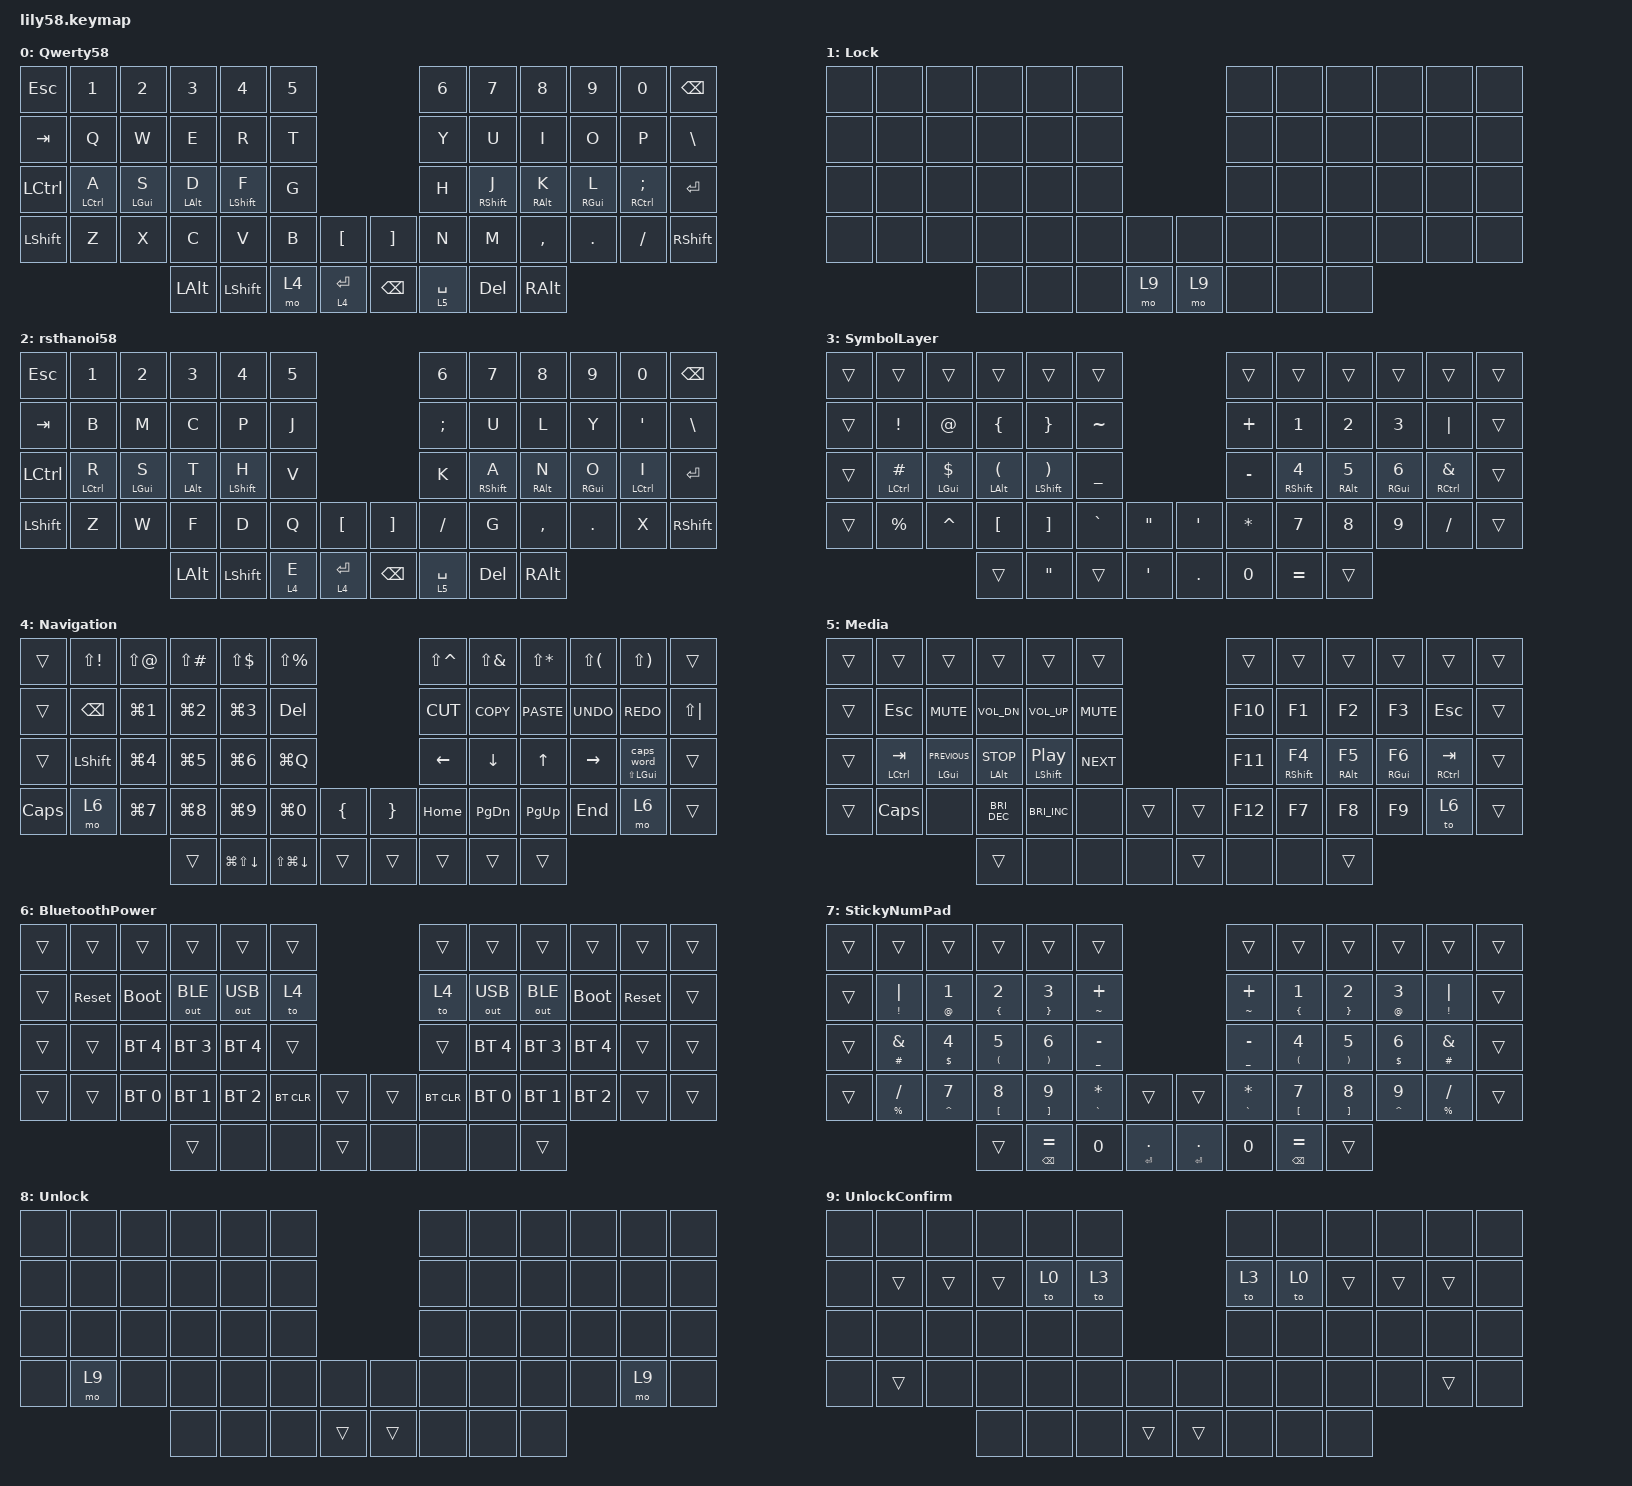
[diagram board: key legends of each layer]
/*
 * Copyright (c) 2020 The ZMK Contributors
 *
 * SPDX-License-Identifier: MIT
 */

#include <behaviors.dtsi>
#include <dt-bindings/zmk/bt.h>
#include <dt-bindings/zmk/keys.h>
#include <dt-bindings/zmk/outputs.h>

&mt {
    tapping-term-ms = <350>;
    flavor = "tap-preferred";
    require-prior-idle-ms = <150>;
};

&lt {
    tapping-term-ms = <200>;
    flavor = "balanced";
    require-prior-idle-ms = <150>;
};

/ {
    combos {
        compatible = "zmk,combos";

        escapeCombo {
            bindings = <&kp ESCAPE>;
            key-positions = <13 14>;
            layers = <4 4 5 6 3 0>;
        };

        tabCombo {
            bindings = <&kp TAB>;
            key-positions = <25 26>;
            layers = <4 4 5 6 3 0 7>;
            require-prior-idle-ms = <50>;
        };

        spaceCOMBO {
            bindings = <&kp SPACE>;
            key-positions = <40 41>;
            layers = <4 4 5 6 3 0 7>;
        };

        numpadCombo {
            bindings = <&tog 7>;
            key-positions = <16 17>;
            layers = <4 4 5 6 7 3 0>;
        };

        xCombo {
            bindings = <&kp X>;
            key-positions = <38 39>;
            layers = <4 4 5 6 3 0 7>;
        };

        resetLeft {
            bindings = <&sys_reset>;
            key-positions = <13 14 15>;
        };

        bootloaderLeft {
            bindings = <&bootloader>;
            key-positions = <15 16 17>;
        };

        comment {
            bindings = <&kp LC(SLASH)>;
            key-positions = <39 40>;
            require-prior-idle-ms = <100>;
            layers = <3 0 4 4 5 6 7>;
        };
    };

    macros {
        enterExit: new_macro {
            compatible = "zmk,behavior-macro";
            #binding-cells = <0>;
            bindings = <&kp ENTER &tog 3>;
            label = "NEW_MACRO";
        };
    };

    behaviors {
        togKP: togKP {
            compatible = "zmk,behavior-hold-tap";
            label = "TOGKP";
            bindings = <&tog>, <&kp>;

            #binding-cells = <2>;
            tapping-term-ms = <300>;
        };

        capsLGUI: capsLGUI {
            compatible = "zmk,behavior-hold-tap";
            label = "CAPSLGUI";
            bindings = <&kp>, <&caps_word>;

            #binding-cells = <2>;
            tapping-term-ms = <300>;
        };
    };

    keymap {
        compatible = "zmk,keymap";

        Qwerty {
            // ------------------------------------------------------------------------------------------------------------
            // |  ESC  |  1  |  2  |  3   |  4   |  5   |                   |  6   |  7    |  8    |  9   |   0   |   `   |
            // |  TAB  |  Q  |  W  |  E   |  R   |  T   |                   |  Y   |  U    |  I    |  O   |   P   |   -   |
            // |  CTRL |  A  |  S  |  D   |  F   |  G   |                   |  H   |  J    |  K    |  L   |   ;   |   '   |
            // | SHIFT |  Z  |  X  |  C   |  V   |  B   |   "["  |  |  "]"  |  N   |  M    |  ,    |  .   |   /   | SHIFT |
            //                     | ALT  | GUI  | LOWER|  SPACE |  | ENTER | RAISE| BSPC  | GUI   |

            bindings = <
&kp ESC    &kp N1       &kp N2      &kp N3      &kp N4        &kp N5                                &kp N6       &kp N7        &kp N8      &kp N9      &kp N0               &kp BACKSPACE
&kp TAB    &kp Q        &kp W       &kp E       &kp R         &kp T                                 &kp Y        &kp U         &kp I       &kp O       &kp P                &kp BACKSLASH
&kp LCTRL  &mt LCTRL A  &mt LGUI S  &mt LALT D  &mt LSHIFT F  &kp G                                 &kp H        &mt RSHIFT J  &mt RALT K  &mt RGUI L  &mt RCTRL SEMICOLON  &kp ENTER
&kp LSHFT  &kp Z        &kp X       &kp C       &kp V         &kp B   &kp LBKT       &kp RBKT       &kp N        &kp M         &kp COMMA   &kp DOT     &kp FSLH             &kp RSHIFT
                                    &kp LALT    &kp LSHFT     &mo 4   &lt 4 ENTER    &kp BACKSPACE  &lt 5 SPACE  &kp DEL       &kp RALT
            >;

            label = "Qwerty58";
        };

        Lock {
            bindings = <
&none  &none  &none  &none  &none  &none                  &none  &none  &none  &none  &none  &none
&none  &none  &none  &none  &none  &none                  &none  &none  &none  &none  &none  &none
&none  &none  &none  &none  &none  &none                  &none  &none  &none  &none  &none  &none
&none  &none  &none  &none  &none  &none  &none    &none  &none  &none  &none  &none  &none  &none
                     &none  &none  &none  &mo 9    &mo 9  &none  &none  &none
            >;

            label = "Lock";
        };

        rsthanoi {
            bindings = <
&kp ESCAPE  &kp N1       &kp N2      &kp N3      &kp N4        &kp N5                                 &kp N6         &kp N7        &kp N8      &kp N9      &kp N0       &kp BSPC
&kp TAB     &kp B        &kp M       &kp C       &kp P         &kp J                                  &kp SEMICOLON  &kp U         &kp L       &kp Y       &kp SQT      &kp BSLH
&kp LCTRL   &mt LCTRL R  &mt LGUI S  &mt LALT T  &mt LSHIFT H  &kp V                                  &kp K          &mt RSHIFT A  &mt RALT N  &mt RGUI O  &mt LCTRL I  &kp ENTER
&kp LSHIFT  &kp Z        &kp W       &kp F       &kp D         &kp Q    &kp LBKT       &kp RBKT       &kp SLASH      &kp G         &kp COMMA   &kp PERIOD  &kp X        &kp RSHIFT
                                     &kp LALT    &kp LSHIFT    &lt 4 E  &lt 4 ENTER    &kp BACKSPACE  &lt 5 SPACE    &kp DEL       &kp RALT
            >;

            label = "rsthanoi58";
        };

        SymbolLayer {
            bindings = <
&trans  &trans           &trans           &trans                     &trans                        &trans                                           &trans        &trans               &trans        &trans             &trans               &trans
&trans  &kp EXCLAMATION  &kp AT           &kp LEFT_BRACE             &kp RIGHT_BRACE               &kp TILDE                                        &kp PLUS      &kp NUMBER_1         &kp NUMBER_2  &kp NUMBER_3       &kp PIPE             &trans
&trans  &mt LCTRL HASH   &mt LGUI DOLLAR  &mt LALT LEFT_PARENTHESIS  &mt LSHIFT RIGHT_PARENTHESIS  &kp UNDERSCORE                                   &kp MINUS     &mt RSHIFT NUMBER_4  &mt RALT N5   &mt RGUI NUMBER_6  &mt RCTRL AMPERSAND  &trans
&trans  &kp PERCENT      &kp CARET        &kp LEFT_BRACKET           &kp RIGHT_BRACKET             &kp GRAVE       &kp DOUBLE_QUOTES    &kp SQT     &kp ASTERISK  &kp N7               &kp N8        &kp N9             &kp SLASH            &trans
                                          &trans                     &kp DOUBLE_QUOTES             &trans          &kp SQT              &kp PERIOD  &kp N0        &kp EQUAL            &trans
            >;

            label = "SymbolLayer";
        };

        Navigation {
            bindings = <
&trans        &kp LS(EXCL)    &kp LS(AT)        &kp LS(POUND)     &kp LS(DLLR)            &kp LS(PRCNT)                                              &kp LS(CARET)   &kp LS(AMPS)    &kp LS(STAR)  &kp LS(LPAR)     &kp LS(RPAR)          &trans
&trans        &kp BACKSPACE   &kp LG(NUMBER_1)  &kp LG(NUMBER_2)  &kp LG(NUMBER_3)        &kp DELETE                                                 &kp K_CUT       &kp K_COPY      &kp K_PASTE   &kp K_UNDO       &kp K_REDO            &kp LS(PIPE)
&trans        &kp LEFT_SHIFT  &kp LG(NUMBER_4)  &kp LG(N5)        &kp LG(NUMBER_6)        &kp LG(Q)                                                  &kp LEFT_ARROW  &kp DOWN_ARROW  &kp UP_ARROW  &kp RIGHT_ARROW  &capsLGUI LS(LGUI) 0  &trans
&kp CAPSLOCK  &mo 6           &kp LG(N7)        &kp LG(N8)        &kp LG(N9)              &kp LG(N0)              &kp LEFT_BRACE    &kp RIGHT_BRACE  &kp HOME        &kp PG_DN       &kp PG_UP     &kp END          &mo 6                 &trans
                                                &trans            &kp LG(LS(DOWN_ARROW))  &kp LS(LG(DOWN_ARROW))  &trans            &trans           &trans          &trans          &trans
            >;

            label = "Navigation";
        };

        Media {
            bindings = <
&trans  &trans         &trans               &trans                &trans                   &trans                        &trans   &trans         &trans       &trans       &trans         &trans
&trans  &kp ESCAPE     &kp C_MUTE           &kp C_VOL_DN          &kp C_VOL_UP             &kp C_MUTE                    &kp F10  &kp F1         &kp F2       &kp F3       &kp ESCAPE     &trans
&trans  &mt LCTRL TAB  &mt LGUI C_PREVIOUS  &mt LALT C_STOP       &mt LSHIFT C_PLAY_PAUSE  &kp C_NEXT                    &kp F11  &mt RSHIFT F4  &mt RALT F5  &mt RGUI F6  &mt RCTRL TAB  &trans
&trans  &kp CAPSLOCK   &none                &kp C_BRIGHTNESS_DEC  &kp C_BRIGHTNESS_INC     &none       &trans    &trans  &kp F12  &kp F7         &kp F8       &kp F9       &to 6          &trans
                                            &trans                &none                    &none       &none     &trans  &none    &none          &trans
            >;

            label = "Media";
        };

        BluetoothPower {
            bindings = <
&trans  &trans      &trans        &trans        &trans        &trans                        &trans      &trans        &trans        &trans        &trans      &trans
&trans  &sys_reset  &bootloader   &out OUT_BLE  &out OUT_USB  &to 4                         &to 4       &out OUT_USB  &out OUT_BLE  &bootloader   &sys_reset  &trans
&trans  &trans      &bt BT_SEL 4  &bt BT_SEL 3  &bt BT_SEL 4  &trans                        &trans      &bt BT_SEL 4  &bt BT_SEL 3  &bt BT_SEL 4  &trans      &trans
&trans  &trans      &bt BT_SEL 0  &bt BT_SEL 1  &bt BT_SEL 2  &bt BT_CLR  &trans    &trans  &bt BT_CLR  &bt BT_SEL 0  &bt BT_SEL 1  &bt BT_SEL 2  &trans      &trans
                                  &trans        &none         &none       &trans    &none   &none       &none         &trans
            >;

            label = "BluetoothPower";
        };

        StickyNumPad {
            bindings = <
&trans  &trans              &trans                &trans                         &trans                          &trans                                                      &trans                &trans                         &trans                          &trans                &trans              &trans
&trans  &mt EXCL PIPE       &mt AT_SIGN NUMBER_1  &mt LEFT_BRACE NUMBER_2        &mt RIGHT_BRACE NUMBER_3        &mt TILDE PLUS                                              &mt TILDE PLUS        &mt LEFT_BRACE NUMBER_1        &mt RIGHT_BRACE NUMBER_2        &mt AT_SIGN NUMBER_3  &mt EXCL PIPE       &trans
&trans  &mt HASH AMPERSAND  &mt DOLLAR NUMBER_4   &mt LEFT_PARENTHESIS NUMBER_5  &mt RIGHT_PARENTHESIS NUMBER_6  &mt UNDERSCORE MINUS                                        &mt UNDERSCORE MINUS  &mt LEFT_PARENTHESIS NUMBER_4  &mt RIGHT_PARENTHESIS NUMBER_5  &mt DOLLAR NUMBER_6   &mt HASH AMPERSAND  &trans
&trans  &mt PERCENT SLASH   &mt CARET N7          &mt LEFT_BRACKET N8            &mt RIGHT_BRACKET N9            &mt GRAVE ASTERISK    &trans              &trans            &mt GRAVE ASTERISK    &mt LEFT_BRACKET N7            &mt RIGHT_BRACKET N8            &mt CARET N9          &mt PERCENT SLASH   &trans
                                                  &trans                         &mt BACKSPACE EQUAL             &kp N0                &mt ENTER PERIOD    &mt ENTER PERIOD  &kp N0                &mt BACKSPACE EQUAL            &trans
            >;
        };

        Unlock {
            bindings = <
&none  &none  &none  &none  &none  &none                    &none  &none  &none  &none  &none  &none
&none  &none  &none  &none  &none  &none                    &none  &none  &none  &none  &none  &none
&none  &none  &none  &none  &none  &none                    &none  &none  &none  &none  &none  &none
&none  &mo 9  &none  &none  &none  &none  &none     &none   &none  &none  &none  &none  &mo 9  &none
                     &none  &none  &none  &trans    &trans  &none  &none  &none
            >;

            label = "Unlock";
        };

        UnlockConfirm {
            bindings = <
&none  &none   &none   &none   &none  &none                    &none  &none  &none   &none   &none   &none
&none  &trans  &trans  &trans  &to 0  &to 3                    &to 3  &to 0  &trans  &trans  &trans  &none
&none  &none   &none   &none   &none  &none                    &none  &none  &none   &none   &none   &none
&none  &trans  &none   &none   &none  &none  &none     &none   &none  &none  &none   &none   &trans  &none
                       &none   &none  &none  &trans    &trans  &none  &none  &none
            >;

            label = "UnlockConfirm";
        };
    };
};

/*
*
https://caksoylar.github.io/keymap-drawer?keymap_yaml=H4sIAAAAAAAC_-0Z7XLaRvB_nkJt0lw-7NoY7DjKZKYSkgyJkGR9gGkau3JQbQYZJVhuhnHpY-Rt8jJ9kkq3py84ZBCQOlN5xrvL7mlv72N3725de-zd-Cxz--lqcDZwxueePeqxjNt3x_uHZyPPt32nN3ng2mNndM0-YJjRtX9pD71-SG8zolHHGFUQ4D2CqwTXCN4n-IDgFwQfEvyS4F3AvKGBYpPjgYFhC0OQaBi-wfAVhhaGMoZdUBf8YeI3ENVNHcS3wZD1LeaSBd4kZhrAPLKaCc8EHiebCa8BPKPRlAi3jeHbuAWHW-ipFiFXAW5Glwq8TJ_NaeNExRR1GAVWiclfMexgKGEoYHgMo39HJvU94B0Mj4C3BbyfMTzBUE8Uh4Od7iw0S8RmGd0Wn5iKLcN8hWsn7HAJMbclCk0O-IbG1UWwU4SF0KEjY3x17rls_PE_X75uMf74o8My_sgeXk9KyQoS9APZCL8QfEvwhOC_Cf4r3zufr2QbeohoHveI4nFPKB73dMbjzsC4xyjpooaoXheEH4rfBcGI4nlom3CzZi495z-BWadUV0S_E_wjogWqueH0GSpuUPQpFlw6bi_DjyIvBAT0Or8jxf6zf2H7fW_ILrv3HhL8CGXmCZ2izHJGQ0VPCH5afOhRlvrcH76IiENMuN6HASbOPc-H5GJBtKurGuQQjTNMiFmWIqgQtERCRA6Tb1SQw2b2bmBBLSL2I-IAE59u-n74C-KvKJkMp-sqBHlB7Sipn5aW-qE3jxrptqjOaQbTUXXhLiPDhvAJL1sio6kdUUeRUZWI2IuIauIritUKJkgAj_G9iwvXmVBDTENtwSRqR4ygRJSlkdwm0LtfYZ_P2-7fJua2nF7fLtPZZiSRO7cs4phtVY42VUiSXRWLpQpsXQmcXwLXl15mlBU1MXbubLrQdLFNSWyGqWqU3KbJXDfwI8sQZwKFIp6YZBSVuL1Uo6Y5aZ-S5aQDSpKLrF4xySWBgxzbIQYJYj39s6nUsy65fEdSZZdgQGRBq1krVg8XdyXJ_BHw7o3jB4nkUvM-O6PS_Td0mjW6RpCCDdEki8KrqikDrVomw8tiTFsGH2uTg1w_k6fmCtJfp7Wme5u2pOg4W_b1oHpAtY2Hy2dwsJ3lVVF-u1BtbY-qNke0ao9zBrL8vFASd9TnLsWOCoW3R3i8ydRlvbAtU58XtWLNbrBMxLojcBl-_8NgrNxcaXavDFsbClvPFrlcP89_Hlvh_reT_yC3PYXntNsp3P9p7s0Wv43BZWJN4WO-vnk2nBZf29fpyzO-Ge3CnYjYMMkXLHbpDvMUy7xDgYJ7-h8YyRT-3hq6OBFHOJG9D_QCl50f2_5fCKaDqXvDP_4jrUvcrCnfQ09hR_3R1cZXdf0x_rgj6maXGqp0w2wwnKI2C0hz1G7q5LCZ-V7kNLLGZdzcRj0ObnL--BtXu45TdR24dsDp00zVtqDa1YQLSqoiRit1cYuWugTK44Q08yYBJaRG3OIN9TXiLeUxQqa8RbyafonIlLoyla6TVP2vnaoLTj-vK6lqYbbStbNIpSusb621vAX3ou8wzH2Hx-xyRu75jJT2rGQpPN2wZRApJaWkDA3T1f17beK_yU4ueW4mAAA%3D
*
 */
